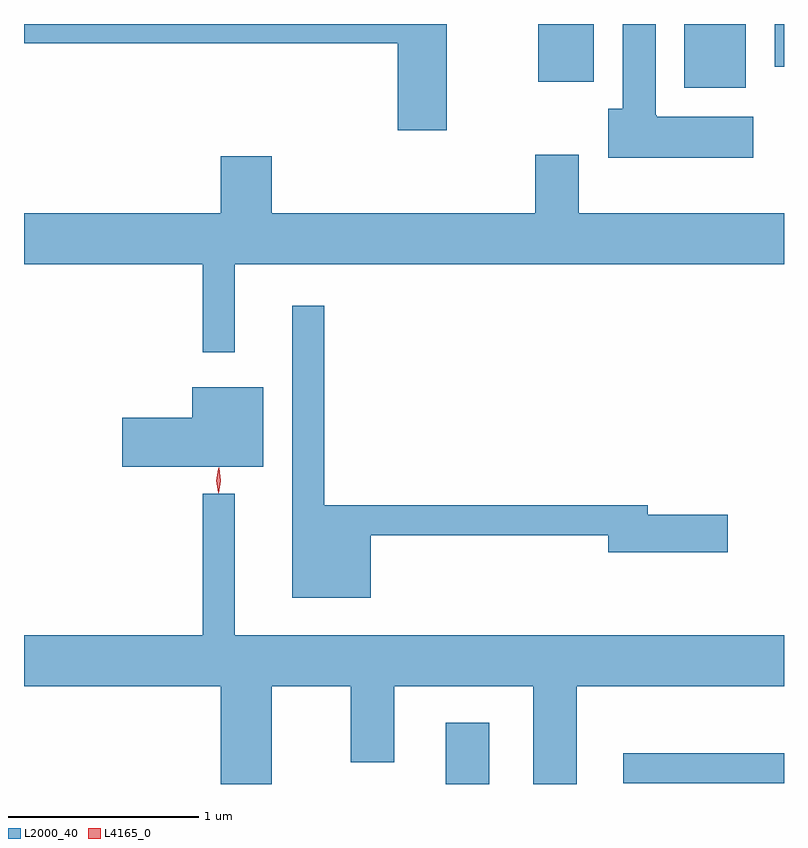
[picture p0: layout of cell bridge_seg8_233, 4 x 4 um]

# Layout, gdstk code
import gdstk
lib = gdstk.Library(unit=1e-6, precision=1e-09)
def R(c, l, rs):  # rectangles x0, y0, x1, y1
    for r in rs: c.add(gdstk.rectangle(r[:2], r[2:], *l))
def P(c, l, *ps):  # polygons
    for p in ps: c.add(gdstk.Polygon(p, *l))
L2000_40 = (2000, 40)
L4165_0 = (4165, 0)

bridge_seg8_233 = lib.new_cell('bridge_seg8_233')
R(bridge_seg8_233, L2000_40, [(1055.421,1864.761,1055.649,1865.084), (1056.353,1864.766,1057.2,1864.924), (1056.676,1868.426,1056.999,1868.761), (1055.906,1868.456,1056.199,1868.761), (1057.151,1868.536,1057.2,1868.761)])
P(bridge_seg8_233, L2000_40, [(1057.039,1868.274),(1056.53,1868.274),(1056.53,1868.28),(1056.524,1868.28),(1056.524,1868.761),(1056.351,1868.761),(1056.351,1868.314),(1056.276,1868.314),(1056.276,1868.056),(1057.039,1868.056)],
  [(1055.424,1868.761),(1053.2,1868.761),(1053.2,1868.661),(1055.166,1868.661),(1055.166,1868.201),(1055.424,1868.201)],
  [(1054.309,1867.496),(1057.2,1867.496),(1057.2,1867.764),(1056.119,1867.764),(1056.119,1868.074),(1055.891,1868.074),(1055.891,1867.764),(1054.504,1867.764),(1054.504,1868.064),(1054.236,1868.064),(1054.236,1867.764),(1053.2,1867.764),(1053.2,1867.496),(1054.141,1867.496),(1054.141,1867.033),(1054.309,1867.033)],
  [(1055.024,1866.071),(1056.276,1866.071),(1056.276,1865.981),(1056.904,1865.981),(1056.904,1866.179),(1056.484,1866.179),(1056.484,1866.229),(1054.779,1866.229),(1054.779,1867.278),(1054.611,1867.278),(1054.611,1865.741),(1055.024,1865.741)],
  [(1054.459,1866.849),(1054.086,1866.849),(1054.086,1866.689),(1053.716,1866.689),(1053.716,1866.431),(1054.459,1866.431)],
  [(1054.504,1865.276),(1054.921,1865.276),(1054.921,1864.876),(1055.149,1864.876),(1055.149,1865.276),(1055.881,1865.276),(1055.881,1864.761),(1056.109,1864.761),(1056.109,1865.276),(1057.2,1865.276),(1057.2,1865.544),(1054.309,1865.544),(1054.309,1866.288),(1054.141,1866.288),(1054.141,1865.544),(1053.2,1865.544),(1053.2,1865.276),(1054.236,1865.276),(1054.236,1864.761),(1054.504,1864.761)])
P(bridge_seg8_233, L4165_0, [(1054.222,1866.293),(1054.222,1866.293),(1054.212,1866.356),(1054.222,1866.419),(1054.222,1866.42),(1054.222,1866.419),(1054.232,1866.356),(1054.222,1866.293)],
  [(1054.224,1866.29),(1054.216,1866.358),(1054.226,1866.425),(1054.226,1866.426),(1054.227,1866.425),(1054.236,1866.358),(1054.226,1866.29),(1054.225,1866.29)])

lib.write_gds('bridge_seg8_233.gds')
